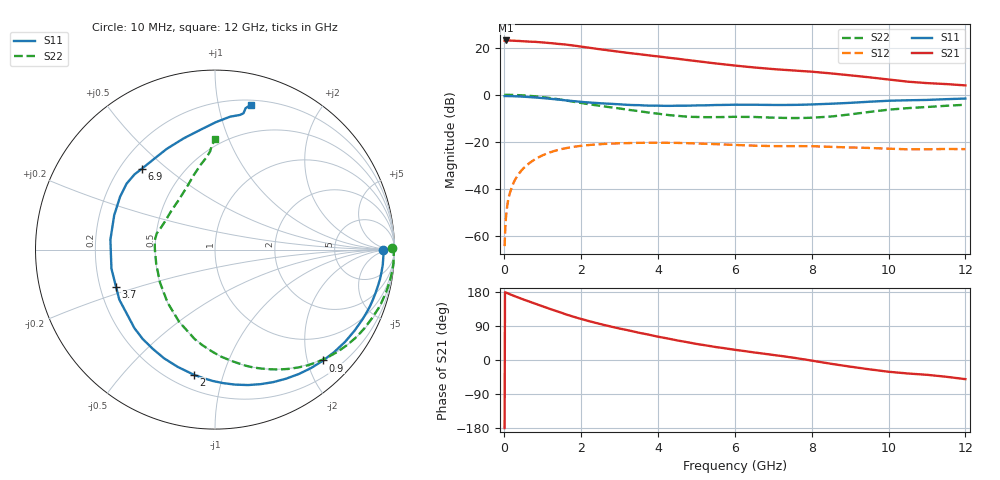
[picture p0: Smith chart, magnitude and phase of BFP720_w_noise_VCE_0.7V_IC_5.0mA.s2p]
! Infineon Technologies  Discrete & RF Semiconductors
! BFP720
! VCE =  0.7 V,  IC =  5.0 mA
! Common Emitter S-Parameters:  Aug 2012
# GHz  S  MA  R  50
!  f  S11  S21  S12  S22
! GHz  MAG  ANG  MAG  ANG  MAG  ANG  MAG  ANG
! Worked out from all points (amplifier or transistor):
!   105 points, 10 MHz to 12 GHz, reference 50 ohm
!   highest |S21| = 23.1 dB at 50 MHz (marker M1)
!   |S21| within 3 dB of that: start of sweep to 2.169 GHz
!   unconditionally stable (mu >= 1): start of sweep to 10.4 MHz; 6.846 GHz to end of sweep
!   at 300 MHz: K = 0.05, MSG = 29.3 dB, |S12| = -35.7 dB
!   at 3.6 GHz: K = 0.47, MSG = 18.8 dB, |S12| = -20.5 dB
!   at 12 GHz: K = 1.05, MAG = 12.3 dB, |S12| = -23.1 dB
!   lowest NFmin = 0.39 dB at 450 MHz
!   S11 on the Smith chart (normalised r, x): 10 MHz: 31, -2; 900 MHz: 0.47, -2.29; 2 GHz: 0.29, -0.80; 3.7 GHz: 0.27, -0.17; 6.9 GHz: 0.29, +0.41; 12 GHz: 0.24, +1.25
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0.01  0.9375 -0.2  14.12 -179.6  0.0006 -22.5  0.9853 0.6
0.02  0.9401 -1.0  14.09 178.9  0.001 95.7  0.9969 -0.7
0.05  0.9386 -2.6  14.31 177.7  0.0027 88.1  0.9963 -2.0
0.2  0.9341 -10.1  14.16 171.4  0.0109 83.6  0.9928 -8.0
0.5  0.9093 -25.2  13.75 159.7  0.0272 74.4  0.9671 -19.9
0.9  0.8632 -45.7  13.18 145.2  0.047 61.9  0.9087 -35.7
1.2  0.8209 -61.2  12.57 134.5  0.0598 52.7  0.8489 -47.3
1.6  0.7603 -81.6  11.71 120.6  0.0729 41.3  0.7572 -61.9
2  0.7072 -99.6  10.59 108.3  0.0819 31.5  0.6697 -75.1
2.1  0.6948 -103.5  10.31 105.6  0.0834 29.3  0.6491 -78.0
2.4  0.6688 -115.1  9.52 97.5  0.0877 23.1  0.5965 -86.9
2.8  0.6403 -129.1  8.618 87.7  0.0916 16.0  0.5367 -97.6
3.5  0.6015 -152.5  7.324 72.0  0.0949 5.4  0.4489 -116.5
3.7  0.5893 -159.2  6.988 68.1  0.095 2.7  0.4244 -122.1
4.1  0.5828 -172.7  6.397 59.7  0.0952 -2.5  0.3859 -134.9
5  0.5934 161.2  5.203 42.4  0.0922 -12.9  0.3369 -166.6
6.1  0.6137 142.0  4.106 25.6  0.085 -20.9  0.3389 170.0
6.9  0.6077 132.3  3.574 14.7  0.0812 -23.9  0.3278 159.7
8.5  0.6439 105.7  2.848 -9.9  0.0779 -32.4  0.344 125.5
9.5  0.7107 89.5  2.352 -24.6  0.0738 -35.9  0.4309 106.0
10.5  0.763 79.5  1.899 -35.6  0.0691 -37.6  0.5195 94.9
12  0.8302 76.2  1.582 -50.5  0.0696 -40.8  0.6135 89.9
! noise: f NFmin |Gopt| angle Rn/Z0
0.45  0.39  0.49  4  0.18
1.8  0.49  0.47  25  0.14
2.4  0.53  0.34  60  0.19
5.5  0.68  0.22  65  0.13
10  0.97  0.4  -93  0.22
